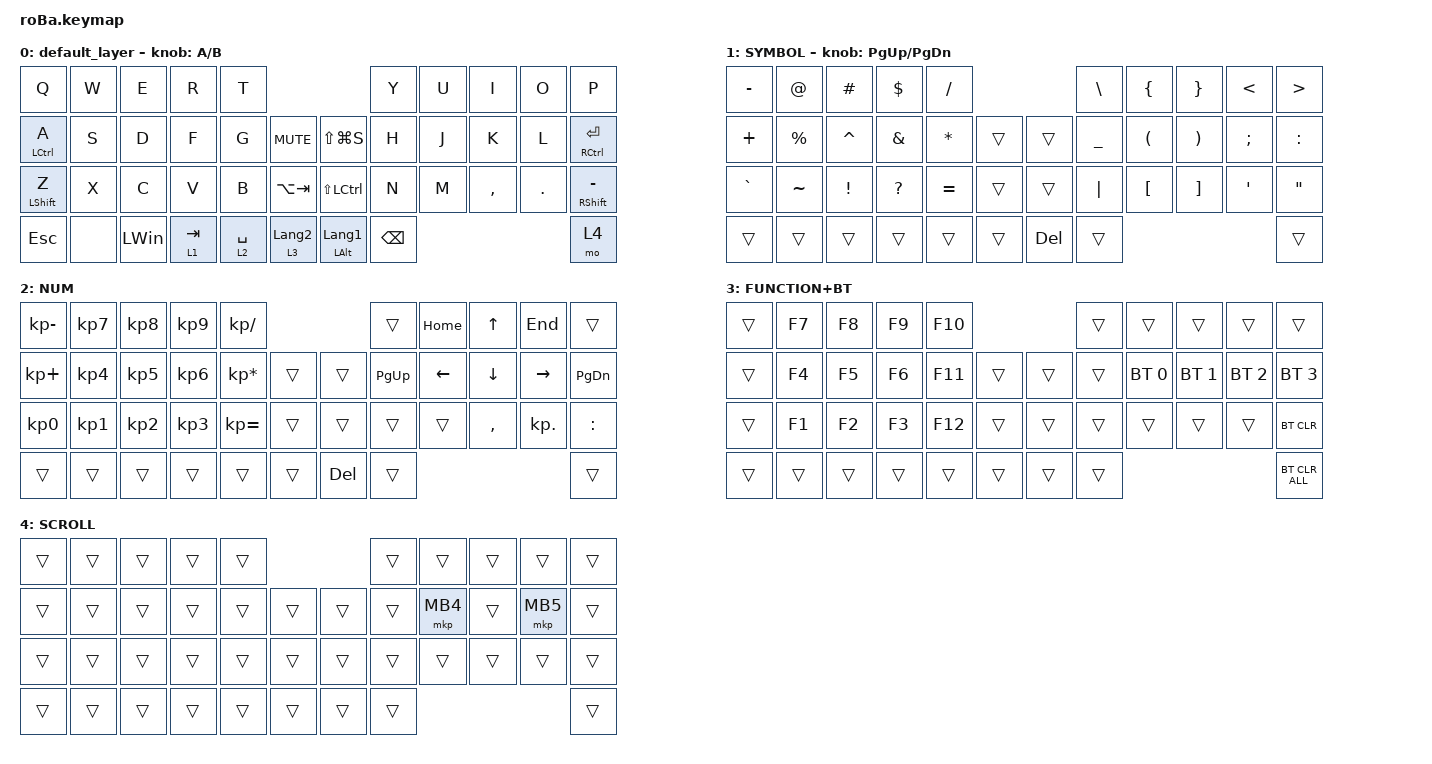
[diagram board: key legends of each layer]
#include <behaviors.dtsi>
#include <dt-bindings/zmk/bt.h>
#include <dt-bindings/zmk/keys.h>
#include <dt-bindings/zmk/pointing.h>

&mt {
    flavor = "balanced";
    quick-tap-ms = <0>;
};

&trackball {
    automouse-layer = <4>;
    scroll-layers = <5>;

    // arrows {
    //     layers = <3>;
    //     bindings =
    //         <&kp RIGHT_ARROW>,
    //         <&kp LEFT_ARROW>,
    //         <&kp UP_ARROW>,
    //         <&kp DOWN_ARROW>;

    //     tick = <10>;
    //     wait-ms = <5>;
    //     tap-ms = <5>;
    // };
};

/ {
    combos {
        compatible = "zmk,combos";

        mouse-left-click {
            bindings = <&mkp MB1>;
            key-positions = <18 19>;
        };

        mouse-right-click {
            bindings = <&mkp MB2>;
            key-positions = <19 20>;
        };

        mouse-middle-click {
            bindings = <&mkp MB3>;
            key-positions = <18 19 20>;
        };
    };

    keymap {
        compatible = "zmk,keymap";

        default_layer {
            bindings = <
&kp Q             &kp W  &kp E         &kp R      &kp T                                                       &kp Y          &kp U  &kp I      &kp O    &kp P
&mt LCTRL A       &kp S  &kp D         &kp F      &kp G        &kp C_MUTE            &kp LS(LG(S))            &kp H          &kp J  &kp K      &kp L    &mt RCTRL ENTER
&mt LEFT_SHIFT Z  &kp X  &kp C         &kp V      &kp B        &kp LA(TAB)           &kp LS(LCTRL)            &kp N          &kp M  &kp COMMA  &kp DOT  &mt RIGHT_SHIFT MINUS
&kp ESCAPE        &none  &kp LEFT_WIN  &lt 1 TAB  &lt 2 SPACE  &lt 3 LANGUAGE_2      &mt LEFT_ALT LANGUAGE_1  &kp BACKSPACE                             &mo 4
            >;

            sensor-bindings = <&inc_dec_kp A B>;
        };

        SYMBOL {
            bindings = <
&kp MINUS  &kp AT       &kp HASH   &kp DOLLAR     &kp SLASH                             &kp BACKSLASH   &kp LEFT_BRACE        &kp RIGHT_BRACE        &kp LESS_THAN  &kp GREATER_THAN
&kp PLUS   &kp PERCENT  &kp CARET  &kp AMPERSAND  &kp ASTERISK  &trans      &trans      &kp UNDERSCORE  &kp LEFT_PARENTHESIS  &kp RIGHT_PARENTHESIS  &kp SEMICOLON  &kp COLON
&kp GRAVE  &kp TILDE    &kp EXCL   &kp QUESTION   &kp EQUAL     &trans      &trans      &kp PIPE        &kp LEFT_BRACKET      &kp RIGHT_BRACKET      &kp SQT        &kp DOUBLE_QUOTES
&trans     &trans       &trans     &trans         &trans        &trans      &kp DELETE  &trans                                                                      &trans
            >;

            sensor-bindings = <&inc_dec_kp PAGE_UP PAGE_DOWN>;
        };

        NUM {
            bindings = <
&kp KP_MINUS  &kp KP_NUMBER_7  &kp KP_NUMBER_8  &kp KP_NUMBER_9  &kp KP_SLASH                             &trans       &kp HOME  &kp UP_ARROW  &kp END     &trans
&kp KP_PLUS   &kp KP_NUMBER_4  &kp KP_NUMBER_5  &kp KP_NUMBER_6  &kp KP_ASTERISK  &trans      &trans      &kp PAGE_UP  &kp LEFT  &kp DOWN      &kp RIGHT   &kp PAGE_DOWN
&kp KP_N0     &kp KP_NUMBER_1  &kp KP_NUMBER_2  &kp KP_NUMBER_3  &kp KP_EQUAL     &trans      &trans      &trans       &trans    &kp COMMA     &kp KP_DOT  &kp COLON
&trans        &trans           &trans           &trans           &trans           &trans      &kp DELETE  &trans                                           &trans
            >;
        };

        FUNCTION+BT {
            bindings = <
&trans  &kp F7  &kp F8  &kp F9  &kp F10                      &trans  &trans        &trans        &trans        &trans
&trans  &kp F4  &kp F5  &kp F6  &kp F11  &trans      &trans  &trans  &bt BT_SEL 0  &bt BT_SEL 1  &bt BT_SEL 2  &bt BT_SEL 3
&trans  &kp F1  &kp F2  &kp F3  &kp F12  &trans      &trans  &trans  &trans        &trans        &trans        &bt BT_CLR
&trans  &trans  &trans  &trans  &trans   &trans      &trans  &trans                                            &bt BT_CLR_ALL
            >;
        };

        SCROLL {
            bindings = <
&trans  &trans  &trans  &trans  &trans                      &trans  &trans    &trans  &trans    &trans
&trans  &trans  &trans  &trans  &trans  &trans      &trans  &trans  &mkp MB4  &trans  &mkp MB5  &trans
&trans  &trans  &trans  &trans  &trans  &trans      &trans  &trans  &trans    &trans  &trans    &trans
&trans  &trans  &trans  &trans  &trans  &trans      &trans  &trans                              &trans
            >;
        };
    };
};
